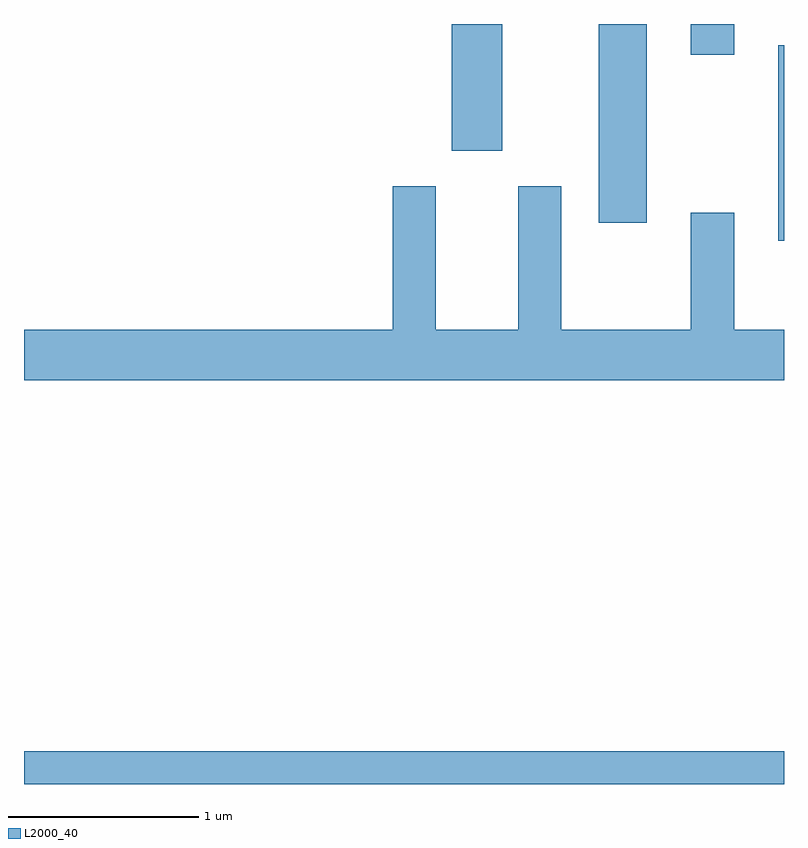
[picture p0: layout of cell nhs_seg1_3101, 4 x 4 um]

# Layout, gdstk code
import gdstk
lib = gdstk.Library(unit=1e-6, precision=1e-09)
def R(c, l, rs):  # rectangles x0, y0, x1, y1
    for r in rs: c.add(gdstk.rectangle(r[:2], r[2:], *l))
def P(c, l, *ps):  # polygons
    for p in ps: c.add(gdstk.Polygon(p, *l))
L2000_40 = (2000, 40)

nhs_seg1_3101 = lib.new_cell('nhs_seg1_3101')
R(nhs_seg1_3101, L2000_40, [(279.611,859.712,283.611,859.884), (283.581,862.571,283.611,863.599), (282.636,862.666,282.889,863.712), (281.861,863.046,282.129,863.712), (283.121,863.551,283.349,863.712)])
P(nhs_seg1_3101, L2000_40, [(283.611,862.104),(283.349,862.104),(283.349,862.719),(283.121,862.719),(283.121,862.104),(282.439,862.104),(282.439,862.859),(282.211,862.859),(282.211,862.104),(281.779,862.104),(281.779,862.859),(281.551,862.859),(281.551,862.104),(279.611,862.104),(279.611,861.836),(283.611,861.836)])

lib.write_gds('nhs_seg1_3101.gds')
